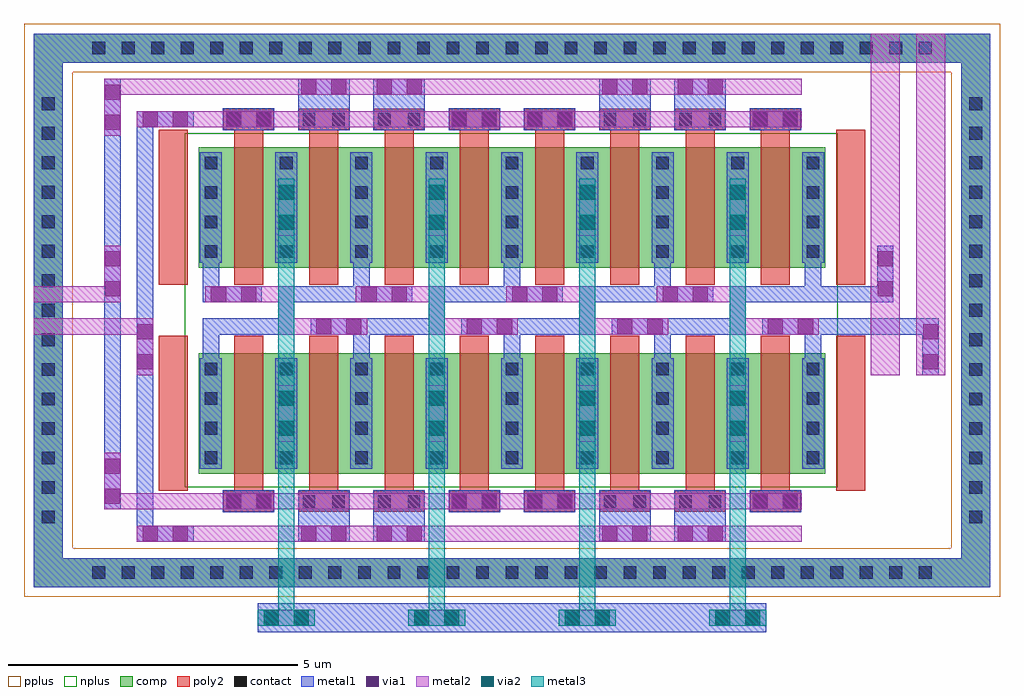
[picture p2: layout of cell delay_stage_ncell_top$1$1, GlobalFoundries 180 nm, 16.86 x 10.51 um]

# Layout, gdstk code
from math import pi, radians
import gdstk
lib = gdstk.Library(unit=1e-6, precision=5e-09)
def R(c, l, rs):  # rectangles x0, y0, x1, y1
    for r in rs: c.add(gdstk.rectangle(r[:2], r[2:], *l))
def A(c, l, x, y, w, h, nx, ny, dx, dy):  # array of equal rectangles
    R(c, l, [(x+i*dx, y+j*dy, x+i*dx+w, y+j*dy+h) for i in range(nx) for j in range(ny)])
comp = (22, 0)
poly2 = (30, 0)
pplus = (31, 0)
nplus = (32, 0)
contact = (33, 0)
metal1 = (34, 0)
via1 = (35, 0)
metal2 = (36, 0)
via2 = (38, 0)
metal3 = (42, 0)

m1_m2_2_1_1 = lib.new_cell('M1_M2$2$1$1')
R(m1_m2_2_1_1, via1, [(0.1,0.01,0.36,0.27), (0.62,0.01,0.88,0.27)])
m1_m2_2_1_1.add(gdstk.FlexPath([(0,0.14),(0.98,0.14)], 0.28, ends="flush", simple_path=True, layer=34, datatype=0))  # metal1
m1_m2_2_1_1.add(gdstk.FlexPath([(0,0.14),(0.98,0.14)], 0.28, ends="flush", simple_path=True, layer=36, datatype=0))  # metal2

m1_m3_1_1 = lib.new_cell('M1_M3$1$1')
R(m1_m3_1_1, via1, [(0.1,0.01,0.36,0.27), (0.1,0.01,0.36,0.27), (0.62,0.01,0.88,0.27), (0.62,0.01,0.88,0.27)])
R(m1_m3_1_1, via2, [(0.1,0.01,0.36,0.27), (0.1,0.01,0.36,0.27), (0.62,0.01,0.88,0.27), (0.62,0.01,0.88,0.27)])
m1_m3_1_1.add(gdstk.FlexPath([(0,0.14),(0.98,0.14)], 0.28, ends="flush", simple_path=True, layer=34, datatype=0))  # metal1
m1_m3_1_1.add(gdstk.FlexPath([(0,0.14),(0.98,0.14)], 0.28, ends="flush", simple_path=True, layer=34, datatype=0))  # metal1
m1_m3_1_1.add(gdstk.FlexPath([(0,0.14),(0.98,0.14)], 0.28, ends="flush", simple_path=True, layer=36, datatype=0))  # metal2
m1_m3_1_1.add(gdstk.FlexPath([(0,0.14),(0.98,0.14)], 0.28, ends="flush", simple_path=True, layer=42, datatype=0))  # metal3

delay_stage_ncell_1_1_2_ = lib.new_cell('delay_stage_ncell_1$1$2$1$1$1')
R(delay_stage_ncell_1_1_2_, comp, [(0,0.3,0.42,2.38), (0.42,0.3,1.3,2.38), (1.3,0.3,1.72,2.38)])
R(delay_stage_ncell_1_1_2_, poly2, [(0.61,0,1.11,2.68)])
A(delay_stage_ncell_1_1_2_, contact, 0.1, 0.465, 0.22, 0.22, 1, 4, 0, 0.51)
A(delay_stage_ncell_1_1_2_, contact, 1.4, 0.465, 0.22, 0.22, 1, 4, 0, 0.51)
R(delay_stage_ncell_1_1_2_, metal1, [(0.02,0.385,0.4,2.295), (1.32,0.385,1.7,2.295)])

delay_stage_ncell_4_1_1_ = lib.new_cell('delay_stage_ncell_4$1$1$1$1')
A(delay_stage_ncell_4_1_1_, poly2, 0.425, 2.675, 0.87, 0.36, 4, 1, 1.3, 0)
R(delay_stage_ncell_4_1_1_, contact, [(0.495,2.745,0.715,2.965), (1.005,2.745,1.225,2.965), (1.795,2.745,2.015,2.965), (2.305,2.745,2.525,2.965), (3.095,2.745,3.315,2.965), (3.605,2.745,3.825,2.965), (4.395,2.745,4.615,2.965), (4.905,2.745,5.125,2.965)])
A(delay_stage_ncell_4_1_1_, metal1, 0.415, 2.665, 0.89, 0.38, 4, 1, 1.3, 0)
delay_stage_ncell_4_1_1_.add(gdstk.Reference(delay_stage_ncell_1_1_2_, (0,-0.005)))
delay_stage_ncell_4_1_1_.add(gdstk.Reference(delay_stage_ncell_1_1_2_, (1.3,-0.005)))
delay_stage_ncell_4_1_1_.add(gdstk.Reference(delay_stage_ncell_1_1_2_, (2.6,-0.005)))
delay_stage_ncell_4_1_1_.add(gdstk.Reference(delay_stage_ncell_1_1_2_, (3.9,-0.005)))

delay_stage_ncell_4_2_1_ = lib.new_cell('delay_stage_ncell_4_2$1$1$1')
R(delay_stage_ncell_4_2_1_, metal1, [(1.715,0,2.605,0.51), (3.015,0,3.905,0.51), (1.715,7.49,2.605,8), (3.015,7.49,3.905,8)])
R(delay_stage_ncell_4_2_1_, via1, [(1.77,0.01,2.03,0.27), (2.29,0.01,2.55,0.27), (3.07,0.01,3.33,0.27), (3.59,0.01,3.85,0.27), (0.47,0.57,0.73,0.83), (0.99,0.57,1.25,0.83), (4.37,0.57,4.63,0.83), (4.89,0.57,5.15,0.83), (1.38,1.83,1.64,2.09), (3.98,1.83,4.24,2.09), (1.38,2.35,1.64,2.61), (3.98,2.35,4.24,2.61), (2.03,3.59,2.29,3.85), (2.55,3.59,2.81,3.85), (4.63,3.59,4.89,3.85), (5.15,3.59,5.41,3.85), (0.21,4.15,0.47,4.41), (0.73,4.15,0.99,4.41), (2.81,4.15,3.07,4.41), (3.33,4.15,3.59,4.41), (1.38,5.39,1.64,5.65), (3.98,5.39,4.24,5.65), (1.38,5.91,1.64,6.17), (3.98,5.91,4.24,6.17), (0.47,7.17,0.73,7.43), (0.99,7.17,1.25,7.43), (4.37,7.17,4.63,7.43), (4.89,7.17,5.15,7.43), (1.77,7.73,2.03,7.99), (2.29,7.73,2.55,7.99), (3.07,7.73,3.33,7.99), (3.59,7.73,3.85,7.99)])
R(delay_stage_ncell_4_2_1_, via2, [(1.38,1.83,1.64,2.09), (3.98,1.83,4.24,2.09), (1.38,2.35,1.64,2.61), (3.98,2.35,4.24,2.61), (1.38,5.39,1.64,5.65), (3.98,5.39,4.24,5.65), (1.38,5.91,1.64,6.17), (3.98,5.91,4.24,6.17)])
delay_stage_ncell_4_2_1_.add(gdstk.FlexPath([(2.81,4.825),(2.81,4.42)], 0.28, ends="flush", simple_path=True, layer=34, datatype=0))  # metal1
delay_stage_ncell_4_2_1_.add(gdstk.FlexPath([(2.81,3.175),(2.81,3.58)], 0.28, ends="flush", simple_path=True, layer=34, datatype=0))  # metal1
delay_stage_ncell_4_2_1_.add(gdstk.FlexPath([(0.21,3.175),(0.21,3.58)], 0.28, ends="flush", simple_path=True, layer=34, datatype=0))  # metal1
delay_stage_ncell_4_2_1_.add(gdstk.FlexPath([(0.21,4.825),(0.21,4.42)], 0.28, ends="flush", simple_path=True, layer=34, datatype=0))  # metal1
delay_stage_ncell_4_2_1_.add(gdstk.FlexPath([(2.91,4.28),(1.51,4.28),(1.51,3.72),(0.07,3.72)], 0.28, ends="flush", simple_path=True, layer=34, datatype=0))  # metal1
delay_stage_ncell_4_2_1_.add(gdstk.FlexPath([(1.09,4.28),(0.07,4.28)], 0.28, ends="flush", simple_path=True, layer=34, datatype=0))  # metal1
delay_stage_ncell_4_2_1_.add(gdstk.FlexPath([(5.41,3.175),(5.41,3.58)], 0.28, ends="flush", simple_path=True, layer=34, datatype=0))  # metal1
delay_stage_ncell_4_2_1_.add(gdstk.FlexPath([(5.55,4.28),(4.11,4.28),(4.11,3.72),(2.71,3.72)], 0.28, ends="flush", simple_path=True, layer=34, datatype=0))  # metal1
delay_stage_ncell_4_2_1_.add(gdstk.FlexPath([(3.69,4.28),(2.71,4.28)], 0.28, ends="flush", simple_path=True, layer=34, datatype=0))  # metal1
delay_stage_ncell_4_2_1_.add(gdstk.FlexPath([(5.41,4.825),(5.41,4.42)], 0.28, ends="flush", simple_path=True, layer=34, datatype=0))  # metal1
delay_stage_ncell_4_2_1_.add(gdstk.FlexPath([(2.81,3.175),(2.81,3.58)], 0.28, ends="flush", simple_path=True, layer=34, datatype=0))  # metal1
delay_stage_ncell_4_2_1_.add(gdstk.FlexPath([(5.55,3.72),(4.53,3.72)], 0.28, ends="flush", simple_path=True, layer=34, datatype=0))  # metal1
delay_stage_ncell_4_2_1_.add(gdstk.FlexPath([(2.81,4.825),(2.81,4.42)], 0.28, ends="flush", simple_path=True, layer=34, datatype=0))  # metal1
delay_stage_ncell_4_2_1_.add(gdstk.FlexPath([(2.91,3.72),(1.93,3.72)], 0.28, ends="flush", simple_path=True, layer=34, datatype=0))  # metal1
delay_stage_ncell_4_2_1_.add(gdstk.FlexPath([(5.41,7.3),(0.405,7.3)], 0.28, ends="flush", simple_path=True, layer=36, datatype=0))  # metal2
delay_stage_ncell_4_2_1_.add(gdstk.FlexPath([(5.41,7.86),(0.405,7.86)], 0.28, ends="flush", simple_path=True, layer=36, datatype=0))  # metal2
delay_stage_ncell_4_2_1_.add(gdstk.FlexPath([(5.41,0.7),(0.405,0.7)], 0.28, ends="flush", simple_path=True, layer=36, datatype=0))  # metal2
delay_stage_ncell_4_2_1_.add(gdstk.FlexPath([(5.41,0.14),(0.405,0.14)], 0.28, ends="flush", simple_path=True, layer=36, datatype=0))  # metal2
delay_stage_ncell_4_2_1_.add(gdstk.FlexPath([(4.11,5.29),(4.11,6.27)], 0.28, ends="flush", simple_path=True, layer=36, datatype=0))  # metal2
delay_stage_ncell_4_2_1_.add(gdstk.FlexPath([(1.51,5.29),(1.51,6.27)], 0.28, ends="flush", simple_path=True, layer=36, datatype=0))  # metal2
delay_stage_ncell_4_2_1_.add(gdstk.FlexPath([(4.11,1.73),(4.11,2.71)], 0.28, ends="flush", simple_path=True, layer=36, datatype=0))  # metal2
delay_stage_ncell_4_2_1_.add(gdstk.FlexPath([(1.51,1.73),(1.51,2.71)], 0.28, ends="flush", simple_path=True, layer=36, datatype=0))  # metal2
delay_stage_ncell_4_2_1_.add(gdstk.FlexPath([(2.91,3.72),(1.51,3.72),(1.51,4.28),(0.11,4.28)], 0.28, ends="flush", simple_path=True, layer=36, datatype=0))  # metal2
delay_stage_ncell_4_2_1_.add(gdstk.FlexPath([(5.51,3.72),(4.11,3.72),(4.11,4.28),(2.71,4.28)], 0.28, ends="flush", simple_path=True, layer=36, datatype=0))  # metal2
delay_stage_ncell_4_2_1_.add(gdstk.FlexPath([(4.11,5.29),(4.11,6.27)], 0.28, ends="flush", simple_path=True, layer=42, datatype=0))  # metal3
delay_stage_ncell_4_2_1_.add(gdstk.FlexPath([(1.51,5.29),(1.51,6.27)], 0.28, ends="flush", simple_path=True, layer=42, datatype=0))  # metal3
delay_stage_ncell_4_2_1_.add(gdstk.FlexPath([(4.11,1.73),(4.11,2.71)], 0.28, ends="flush", simple_path=True, layer=42, datatype=0))  # metal3
delay_stage_ncell_4_2_1_.add(gdstk.FlexPath([(1.51,1.73),(1.51,2.71)], 0.28, ends="flush", simple_path=True, layer=42, datatype=0))  # metal3
delay_stage_ncell_4_2_1_.add(gdstk.Reference(delay_stage_ncell_4_1_1_, (0,4.445)))
delay_stage_ncell_4_2_1_.add(gdstk.Reference(delay_stage_ncell_4_1_1_, (0,3.555), x_reflection=True))

delay_stage_ncell_top_1_ = lib.new_cell('delay_stage_ncell_top$1$1')
R(delay_stage_ncell_top_1_, poly2, [(2.33,2.44,2.83,5.12), (14.03,2.44,14.53,5.12), (2.33,6,2.83,8.68), (14.03,6,14.53,8.68)])
R(delay_stage_ncell_top_1_, nplus, [(2.78,2.5,14.06,8.62)])
A(delay_stage_ncell_top_1_, contact, 1.18, 0.92, 0.22, 0.22, 29, 2, 0.51, 9.06)
A(delay_stage_ncell_top_1_, contact, 0.31, 1.88, 0.22, 0.22, 1, 15, 0, 0.51)
A(delay_stage_ncell_top_1_, contact, 16.33, 1.88, 0.22, 0.22, 1, 15, 0, 0.51)
R(delay_stage_ncell_top_1_, via1, [(2.05,1.57,2.31,1.83), (2.05,1.57,2.31,1.83), (2.57,1.57,2.83,1.83), (2.57,1.57,2.83,1.83), (1.4,2.22,1.66,2.48), (1.4,2.22,1.66,2.48), (1.4,2.74,1.66,3), (1.4,2.74,1.66,3), (15.53,4.54,15.79,4.8), (15.53,4.54,15.79,4.8), (15.53,5.06,15.79,5.32), (15.53,5.06,15.79,5.32), (14.75,5.8,15.01,6.06), (14.75,5.8,15.01,6.06), (14.75,6.32,15.01,6.58), (14.75,6.32,15.01,6.58), (1.4,8.68,1.66,8.94), (1.4,8.68,1.66,8.94), (2.05,8.73,2.31,8.99), (2.05,8.73,2.31,8.99), (2.57,8.73,2.83,8.99), (2.57,8.73,2.83,8.99), (1.4,9.2,1.66,9.46), (1.4,9.2,1.66,9.46)])
delay_stage_ncell_top_1_.add(gdstk.FlexPath([(15.66,4.44),(15.66,5.42)], 0.28, ends="flush", simple_path=True, layer=34, datatype=0))  # metal1
delay_stage_ncell_top_1_.add(gdstk.FlexPath([(15.66,4.44),(15.66,5.42)], 0.28, ends="flush", simple_path=True, layer=34, datatype=0))  # metal1
delay_stage_ncell_top_1_.add(gdstk.FlexPath([(14.88,5.7),(14.88,6.68)], 0.28, ends="flush", simple_path=True, layer=34, datatype=0))  # metal1
delay_stage_ncell_top_1_.add(gdstk.FlexPath([(14.88,5.7),(14.88,6.68)], 0.28, ends="flush", simple_path=True, layer=34, datatype=0))  # metal1
delay_stage_ncell_top_1_.add(gdstk.FlexPath([(13.77,5.28),(15.8,5.28)], 0.28, ends="flush", simple_path=True, layer=34, datatype=0))  # metal1
delay_stage_ncell_top_1_.add(gdstk.FlexPath([(13.77,5.84),(15.02,5.84)], 0.28, ends="flush", simple_path=True, layer=34, datatype=0))  # metal1
delay_stage_ncell_top_1_.add(gdstk.FlexPath([(16.44,10.34),(16.44,1.03),(0.42,1.03),(0.42,10.09),(16.69,10.09)], 0.5, ends="flush", simple_path=True, layer=34, datatype=0))  # metal1
delay_stage_ncell_top_1_.add(gdstk.FlexPath([(2.09,1.84),(2.09,9)], 0.28, ends="flush", simple_path=True, layer=34, datatype=0))  # metal1
delay_stage_ncell_top_1_.add(gdstk.FlexPath([(1.53,8.58),(1.53,9.56)], 0.28, ends="flush", simple_path=True, layer=34, datatype=0))  # metal1
delay_stage_ncell_top_1_.add(gdstk.FlexPath([(1.95,8.86),(2.93,8.86)], 0.28, ends="flush", simple_path=True, layer=34, datatype=0))  # metal1
delay_stage_ncell_top_1_.add(gdstk.FlexPath([(1.95,1.7),(2.93,1.7)], 0.28, ends="flush", simple_path=True, layer=34, datatype=0))  # metal1
delay_stage_ncell_top_1_.add(gdstk.FlexPath([(1.53,3.1),(1.53,2.12)], 0.28, ends="flush", simple_path=True, layer=34, datatype=0))  # metal1
delay_stage_ncell_top_1_.add(gdstk.FlexPath([(1.53,2.12),(1.53,9.56)], 0.28, ends="flush", simple_path=True, layer=34, datatype=0))  # metal1
delay_stage_ncell_top_1_.add(gdstk.FlexPath([(4.04,0.25),(12.82,0.25)], 0.5, ends="flush", simple_path=True, layer=34, datatype=0))  # metal1
delay_stage_ncell_top_1_.add(gdstk.FlexPath([(16.44,10.34),(16.44,1.03),(0.42,1.03),(0.42,10.09),(16.69,10.09)], 0.5, ends="flush", simple_path=True, layer=22, datatype=0))  # comp
delay_stage_ncell_top_1_.add(gdstk.FlexPath([(14.88,4.44),(14.88,10.34)], 0.5, ends="flush", simple_path=True, layer=36, datatype=0))  # metal2
delay_stage_ncell_top_1_.add(gdstk.FlexPath([(15.66,4.44),(15.66,10.34)], 0.5, ends="flush", simple_path=True, layer=36, datatype=0))  # metal2
delay_stage_ncell_top_1_.add(gdstk.FlexPath([(1.53,8.58),(1.53,9.56)], 0.28, ends="flush", simple_path=True, layer=36, datatype=0))  # metal2
delay_stage_ncell_top_1_.add(gdstk.FlexPath([(1.95,8.86),(2.93,8.86)], 0.28, ends="flush", simple_path=True, layer=36, datatype=0))  # metal2
delay_stage_ncell_top_1_.add(gdstk.FlexPath([(1.95,1.7),(2.93,1.7)], 0.28, ends="flush", simple_path=True, layer=36, datatype=0))  # metal2
delay_stage_ncell_top_1_.add(gdstk.FlexPath([(1.53,3.1),(1.53,2.12)], 0.28, ends="flush", simple_path=True, layer=36, datatype=0))  # metal2
delay_stage_ncell_top_1_.add(gdstk.FlexPath([(3.425,8.86),(1.95,8.86)], 0.28, ends="flush", simple_path=True, layer=36, datatype=0))  # metal2
delay_stage_ncell_top_1_.add(gdstk.FlexPath([(3.425,9.42),(1.39,9.42)], 0.28, ends="flush", simple_path=True, layer=36, datatype=0))  # metal2
delay_stage_ncell_top_1_.add(gdstk.FlexPath([(3.425,2.26),(1.67,2.26)], 0.28, ends="flush", simple_path=True, layer=36, datatype=0))  # metal2
delay_stage_ncell_top_1_.add(gdstk.FlexPath([(1.67,5.84),(0.17,5.84)], 0.28, ends="flush", simple_path=True, layer=36, datatype=0))  # metal2
delay_stage_ncell_top_1_.add(gdstk.FlexPath([(2.23,5.28),(0.17,5.28)], 0.28, ends="flush", simple_path=True, layer=36, datatype=0))  # metal2
delay_stage_ncell_top_1_.add(gdstk.FlexPath([(3.425,1.7),(2.16,1.7)], 0.28, ends="flush", simple_path=True, layer=36, datatype=0))  # metal2
delay_stage_ncell_top_1_.add(gdstk.FlexPath([(4.53,6.85),(4.53,0.39)], 0.28, ends="flush", simple_path=True, layer=42, datatype=0))  # metal3
delay_stage_ncell_top_1_.add(gdstk.FlexPath([(7.13,6.85),(7.13,0.39)], 0.28, ends="flush", simple_path=True, layer=42, datatype=0))  # metal3
delay_stage_ncell_top_1_.add(gdstk.FlexPath([(9.73,6.85),(9.73,0.39)], 0.28, ends="flush", simple_path=True, layer=42, datatype=0))  # metal3
delay_stage_ncell_top_1_.add(gdstk.FlexPath([(12.33,6.85),(12.33,0.39)], 0.28, ends="flush", simple_path=True, layer=42, datatype=0))  # metal3
delay_stage_ncell_top_1_.add(gdstk.FlexPath([(16.44,10.51),(16.44,1.03),(0.42,1.03),(0.42,10.09),(16.86,10.09)], 0.84, ends="flush", simple_path=True, layer=31, datatype=0))  # pplus
delay_stage_ncell_top_1_.add(gdstk.Reference(m1_m2_2_1_1, (1.39,6.68), rotation=3*pi/2))
delay_stage_ncell_top_1_.add(gdstk.Reference(m1_m2_2_1_1, (1.95,5.42), rotation=3*pi/2))
delay_stage_ncell_top_1_.add(gdstk.Reference(m1_m3_1_1, (4.04,0.11)))
delay_stage_ncell_top_1_.add(gdstk.Reference(m1_m3_1_1, (6.64,0.11)))
delay_stage_ncell_top_1_.add(gdstk.Reference(m1_m3_1_1, (9.24,0.11)))
delay_stage_ncell_top_1_.add(gdstk.Reference(m1_m3_1_1, (11.84,0.11)))
delay_stage_ncell_top_1_.add(gdstk.Reference(delay_stage_ncell_4_2_1_, (3.02,1.56)))
delay_stage_ncell_top_1_.add(gdstk.Reference(delay_stage_ncell_4_2_1_, (13.84,9.56), rotation=pi))

lib.write_gds('delay_stage_ncell_top_1_1.gds')
